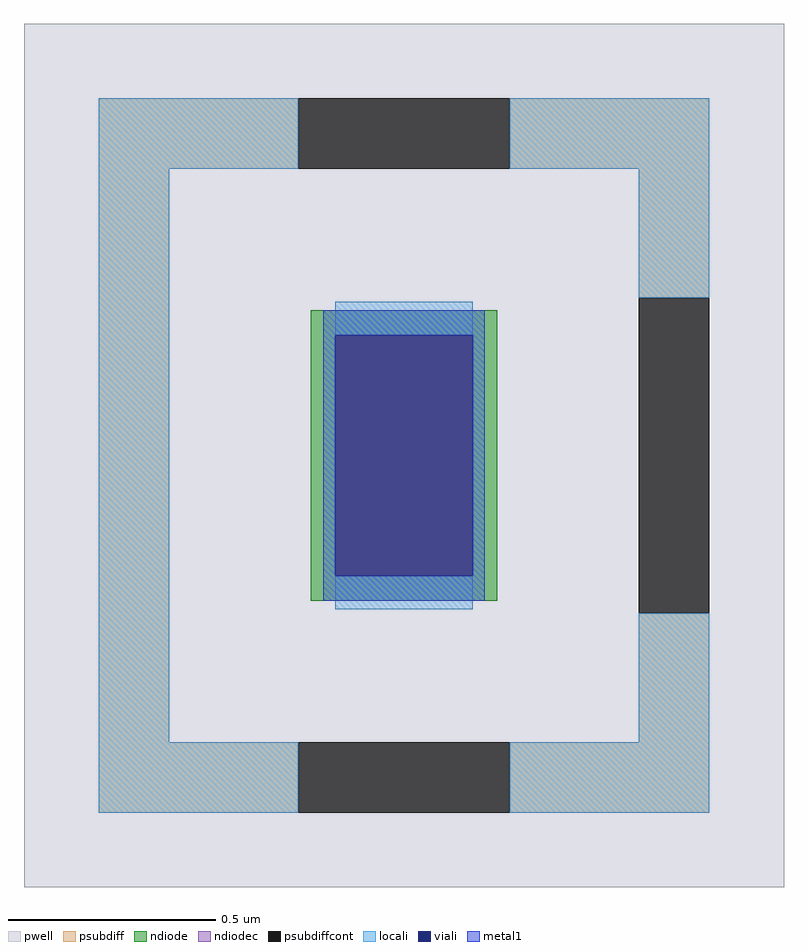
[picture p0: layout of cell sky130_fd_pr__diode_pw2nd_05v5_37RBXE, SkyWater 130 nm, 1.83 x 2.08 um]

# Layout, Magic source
magic
tech sky130A
magscale 1 2
<< pwell >>
rect -183 -208 183 208
<< psubdiff >>
rect -147 138 -51 172
rect 51 138 147 172
rect -147 -138 -113 138
rect 113 76 147 138
rect 113 -138 147 -76
rect -147 -172 -51 -138
rect 51 -172 147 -138
<< psubdiffcont >>
rect -51 138 51 172
rect 113 -76 147 76
rect -51 -172 51 -138
<< ndiode >>
rect -45 58 45 70
rect -45 -58 -33 58
rect 33 -58 45 58
rect -45 -70 45 -58
<< ndiodec >>
rect -33 -58 33 58
<< locali >>
rect -147 138 -51 172
rect 51 138 147 172
rect -147 -138 -113 138
rect 113 76 147 138
rect -33 58 33 74
rect -33 -74 33 -58
rect 113 -138 147 -76
rect -147 -172 -51 -138
rect 51 -172 147 -138
<< viali >>
rect -33 -58 33 58
<< metal1 >>
rect -39 58 39 70
rect -39 -58 -33 58
rect 33 -58 39 58
rect -39 -70 39 -58
<< properties >>
string FIXED_BBOX -130 -155 130 155
string gencell sky130_fd_pr__diode_pw2nd_05v5
string library sky130
string parameters w 0.45 l 0.7 area 315.0m peri 2.3 nx 1 ny 1 dummy 0 lmin 0.45 wmin 0.45 elc 0 erc 1 etc 1 ebc 1 doverlap 0 compatible {sky130_fd_pr__diode_pw2nd_05v5 sky130_fd_pr__diode_pw2nd_05v5_lvt  sky130_fd_pr__diode_pw2nd_05v5_nvt sky130_fd_pr__diode_pw2nd_11v0} full_metal 1 vias 1 viagb 0 viagt 0 viagl 0 viagr 0
<< end >>
